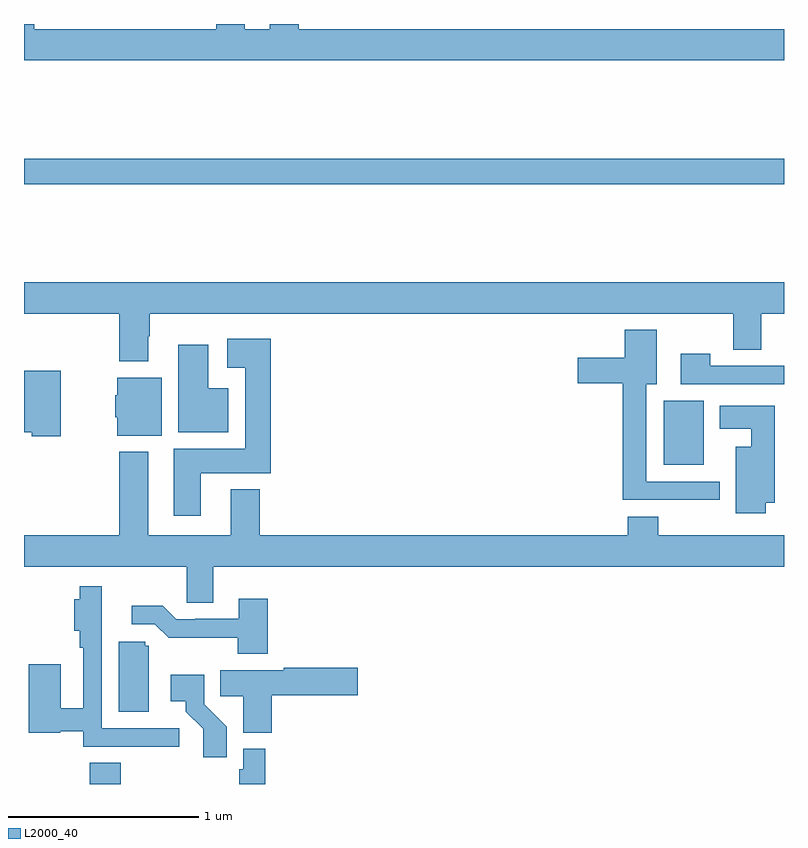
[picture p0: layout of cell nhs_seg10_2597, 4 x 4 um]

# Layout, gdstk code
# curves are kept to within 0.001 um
import gdstk
lib = gdstk.Library(unit=1e-6, precision=1e-09)
def R(c, l, rs):  # rectangles x0, y0, x1, y1
    for r in rs: c.add(gdstk.rectangle(r[:2], r[2:], *l))
def P(c, l, *ps):  # polygons
    for p in ps: c.add(gdstk.Polygon(p, *l))
L2000_40 = (2000, 40)

nhs_seg10_2597 = lib.new_cell('nhs_seg10_2597')
R(nhs_seg10_2597, L2000_40, [(251.345,1304.5,251.51,1304.612), (254.366,1306.181,254.578,1306.516), (251,1307.656,255,1307.792)])
P(nhs_seg10_2597, L2000_40, [(255,1308.472),(252.446,1308.472),(252.446,1308.5),(252.293,1308.5),(252.293,1308.472),(252.163,1308.472),(252.163,1308.5),(252.011,1308.5),(252.011,1308.472),(251.055,1308.472),(251.055,1308.5),(251,1308.5),(251,1308.308),(255,1308.308)],
  [(251.653,1306.856),(251.661,1306.856),(251.661,1306.976),(254.734,1306.976),(254.734,1306.786),(254.881,1306.786),(254.881,1306.976),(255,1306.976),(255,1307.14),(251,1307.14),(251,1306.976),(251.501,1306.976),(251.501,1306.724),(251.653,1306.724)],
  [(254.662,1306.092),(254.275,1306.092),(254.275,1306.604),(254.329,1306.604),(254.329,1306.891),(254.162,1306.891),(254.162,1306.744),(253.914,1306.744),(253.914,1306.61),(254.15,1306.61),(254.15,1305.995),(254.662,1305.995)],
  [(251.929,1306.136),(252.299,1306.136),(252.299,1306.843),(252.069,1306.843),(252.069,1306.691),(252.164,1306.691),(252.164,1306.264),(251.789,1306.264),(251.789,1305.912),(251.929,1305.912)],
  [(252.076,1306.582),(251.971,1306.582),(251.971,1306.813),(251.813,1306.813),(251.813,1306.352),(252.076,1306.352)],
  [(255,1306.701),(254.613,1306.701),(254.613,1306.765),(254.457,1306.765),(254.457,1306.605),(255,1306.605)],
  [(251.194,1306.675),(251,1306.675),(251,1306.352),(251.04,1306.352),(251.04,1306.331),(251.194,1306.331)],
  [(251.725,1306.639),(251.492,1306.639),(251.492,1306.545),(251.48,1306.545),(251.48,1306.431),(251.492,1306.431),(251.492,1306.334),(251.725,1306.334)],
  [(254.905,1305.98),(254.95,1305.98),(254.95,1306.492),(254.663,1306.492),(254.663,1306.37),(254.828,1306.37),(254.828,1306.276),(254.747,1306.276),(254.747,1305.924),(254.905,1305.924)],
  [(251.995,1305.644),(255,1305.644),(255,1305.808),(254.337,1305.808),(254.337,1305.907),(254.177,1305.907),(254.177,1305.808),(252.242,1305.808),(252.242,1306.051),(252.089,1306.051),(252.089,1305.808),(251.653,1305.808),(251.653,1306.249),(251.501,1306.249),(251.501,1305.808),(251,1305.808),(251,1305.644),(251.856,1305.644),(251.856,1305.454),(251.995,1305.454)],
  [(251.818,1304.793),(251.409,1304.793),(251.409,1305.318),(251.41,1305.318),(251.41,1305.541),(251.293,1305.541),(251.293,1305.472),(251.264,1305.472),(251.264,1305.307),(251.293,1305.307),(251.293,1305.218),(251.313,1305.218),(251.313,1304.899),(251.194,1304.899),(251.194,1305.13),(251.024,1305.13),(251.024,1304.77),(251.19,1304.77),(251.19,1304.778),(251.313,1304.778),(251.313,1304.697),(251.593,1304.697),(251.593,1304.695),(251.818,1304.695)],
  [(252.284,1305.475),(252.131,1305.475),(252.131,1305.369),(251.902,1305.369),(251.902,1305.366),(251.802,1305.366),(251.729,1305.439),(251.568,1305.439),(251.568,1305.342),(251.688,1305.342),(251.761,1305.269),(252.124,1305.27),(252.124,1305.185),(252.284,1305.185)],
  [(251.656,1305.228),(251.637,1305.228),(251.637,1305.249),(251.498,1305.249),(251.498,1304.88),(251.656,1304.88)],
  [(252.305,1304.966),(252.757,1304.966),(252.757,1305.113),(252.367,1305.113),(252.367,1305.1),(252.034,1305.1),(252.034,1304.962),(252.155,1304.962),(252.155,1304.771),(252.305,1304.771)],
  [(252.068,1304.802),(251.949,1304.921),(251.949,1305.076),(251.772,1305.076),(251.772,1304.936),(251.852,1304.936),(251.852,1304.881),(251.943,1304.791),(251.943,1304.64),(252.068,1304.64)],
  [(252.269,1304.686),(252.153,1304.686),(252.153,1304.577),(252.133,1304.577),(252.133,1304.5),(252.269,1304.5)])

lib.write_gds('nhs_seg10_2597.gds')
